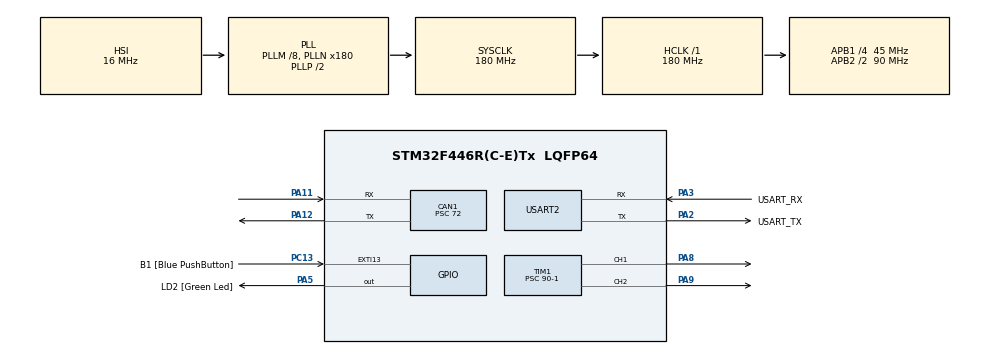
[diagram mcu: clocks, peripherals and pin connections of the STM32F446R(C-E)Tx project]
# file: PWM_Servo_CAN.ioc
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CAN1.BS1=CAN_BS1_2TQ
CAN1.BS2=CAN_BS2_2TQ
CAN1.CalculateBaudRate=125000
CAN1.CalculateTimeBit=8000
CAN1.CalculateTimeQuantum=1600.0
CAN1.Prescaler=72
Mcu.Family=STM32F4
Mcu.Name=STM32F446R(C-E)Tx
Mcu.Package=LQFP64
NVIC.CAN1_RX0_IRQn=true\:0\:0\:false\:false\:true\:true\:true\:true
NVIC.PriorityGroup=NVIC_PRIORITYGROUP_0
NVIC.TIM2_IRQn=true\:0\:0\:false\:false\:true\:true\:true\:true
PA11.Mode=CAN_Activate
PA11.Signal=CAN1_RX
PA12.Mode=CAN_Activate
PA12.Signal=CAN1_TX
PA13.GPIO_Label=TMS
PA13.Mode=Serial_Wire
PA13.Signal=SYS_JTMS-SWDIO
PA14.GPIO_Label=TCK
PA14.Mode=Serial_Wire
PA14.Signal=SYS_JTCK-SWCLK
PA2.GPIO_Label=USART_TX
PA2.Mode=Asynchronous
PA2.Signal=USART2_TX
PA3.GPIO_Label=USART_RX
PA3.Mode=Asynchronous
PA3.Signal=USART2_RX
PA5.GPIO_Label=LD2 [Green Led]
PA5.Signal=GPIO_Output
PA8.Signal=S_TIM1_CH1
PA9.Signal=S_TIM1_CH2
PB3.GPIO_Label=SWO
PB3.Signal=SYS_JTDO-SWO
PC13.GPIO_Label=B1 [Blue PushButton]
PC13.GPIO_ModeDefaultEXTI=GPIO_MODE_IT_FALLING
PC13.Signal=GPXTI13
PC14-OSC32_IN.Mode=LSE-External-Oscillator
PC14-OSC32_IN.Signal=RCC_OSC32_IN
PC15-OSC32_OUT.Mode=LSE-External-Oscillator
PC15-OSC32_OUT.Signal=RCC_OSC32_OUT
PH0-OSC_IN.Mode=HSE-External-Oscillator
PH0-OSC_IN.Signal=RCC_OSC_IN
PH1-OSC_OUT.Mode=HSE-External-Oscillator
PH1-OSC_OUT.Signal=RCC_OSC_OUT
ProjectManager.HeapSize=0x200
ProjectManager.StackSize=0x400
ProjectManager.TargetToolchain=STM32CubeIDE
RCC.48MHZClocksFreq_Value=84000000
RCC.AHBFreq_Value=180000000
RCC.APB1CLKDivider=RCC_HCLK_DIV4
RCC.APB1Freq_Value=45000000
RCC.APB1TimFreq_Value=90000000
RCC.APB2CLKDivider=RCC_HCLK_DIV2
RCC.APB2Freq_Value=90000000
RCC.APB2TimFreq_Value=180000000
RCC.CortexFreq_Value=180000000
RCC.FLatency-AdvancedSettings=FLASH_LATENCY_5
RCC.HCLKFreq_Value=180000000
RCC.HSE_VALUE=8000000
RCC.HSI_VALUE=16000000
RCC.PLLM=8
RCC.PLLN=180
RCC.SYSCLKFreq_VALUE=180000000
RCC.SYSCLKSource=RCC_SYSCLKSOURCE_PLLCLK
RCC.USBFreq_Value=180000000
RCC.VCOOutputFreq_Value=360000000
SH.S_TIM1_CH1.0=TIM1_CH1,PWM Generation1 CH1
SH.S_TIM1_CH2.0=TIM1_CH2,PWM Generation2 CH2
TIM1.Channel-PWM\ Generation1\ CH1=TIM_CHANNEL_1
TIM1.Channel-PWM\ Generation2\ CH2=TIM_CHANNEL_2
TIM1.Period=40000-1
TIM1.Prescaler=90-1
TIM2.ClockDivision=TIM_CLOCKDIVISION_DIV1
TIM2.Period=1500-1
TIM2.Prescaler=90-1
USART2.VirtualMode=VM_ASYNC
VP_TIM1_VS_ClockSourceINT.Mode=Internal
VP_TIM2_VS_ClockSourceINT.Mode=Internal
board=NUCLEO-F446RE

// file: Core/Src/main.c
/* USER CODE BEGIN Header */
/**
  ******************************************************************************
  * @file           : main.c
  * @brief          : Main program body
  ******************************************************************************
  * @attention
  *
  * Copyright (c) 2023 STMicroelectronics.
  * All rights reserved.
  *
  * This software is licensed under terms that can be found in the LICENSE file
  * in the root directory of this software component.
  * If no LICENSE file comes with this software, it is provided AS-IS.
  *
  ******************************************************************************
  */
/* USER CODE END Header */
#include "main.h"

CAN_HandleTypeDef hcan1;

TIM_HandleTypeDef htim1;
TIM_HandleTypeDef htim2;

UART_HandleTypeDef huart2;

void SystemClock_Config(void);
static void MX_GPIO_Init(void);
static void MX_TIM1_Init(void);
static void MX_USART2_UART_Init(void);
static void MX_CAN1_Init(void);
static void MX_TIM2_Init(void);
/* USER CODE BEGIN PFP */
uint32_t degreesToPWM(int16_t degrees, uint32_t ID);
/* USER CODE END PFP */

/* USER CODE BEGIN 0 */
CAN_RxHeaderTypeDef RxHeader;
uint8_t RxData[8];

uint16_t newServoPositions[2];

// Sample CAN command (degrees): cansend can0 001#0001004B00000000
// Sample CAN command (raw PWM value): cansend can0 001#0001089800000000
// Yes. You need both the leading and trailing zeroes.
void HAL_CAN_RxFifo0MsgPendingCallback(CAN_HandleTypeDef *hcan)
{
  HAL_CAN_GetRxMessage(&hcan1, CAN_RX_FIFO0, &RxHeader, RxData);

  // Receive 8 bytes for compatibility with Morphos controller. WILL NOT REACT UNLESS MESSAGE IS THIS LENGTH.
  // Can discard ID field. This firmware uses IDs from the CAN protocol itself, so any other ID fields are redundant
  // The command field (RxData[1]) should be one b/c that corresponds to SET_COMMAND on the Morphos controller
  if(RxHeader.DLC == 8 && RxData[1] == 1)
  {
	  uint16_t tmp = 0;

	  tmp += RxData[2];
	  tmp <<= 8;
	  tmp += RxData[3];

	  uint16_t pwmReceived = degreesToPWM(tmp, RxHeader.StdId);

	  // Return if converted PWM is invalid
	  if(pwmReceived == 0)
	  {
		  return;
	  }

	  if(RxHeader.StdId == 0x00F)
	  {
//		  TIM1->CCR1 = tmp;
//		  TIM1->CCR1 = degreesToPWM(tmp, RxHeader.StdId);
		  newServoPositions[0] = pwmReceived;
	  }
	  else if(RxHeader.StdId == 0x010)
	  {
//		  TIM1->CCR2 = tmp;
//		  TIM1->CCR2 = degreesToPWM(tmp, RxHeader.StdId);
		  newServoPositions[1] = pwmReceived;
	  }
  }
}

void HAL_TIM_PeriodElapsedCallback(TIM_HandleTypeDef* htim)
{
	if(htim == &htim2)
	{
		if(TIM1->CCR1 < newServoPositions[0])
		{
			TIM1->CCR1++;
		}
		else if(TIM1->CCR1 > newServoPositions[0])
		{
			TIM1->CCR1--;
		}

		if(TIM1->CCR2 < newServoPositions[1])
		{
			TIM1->CCR2++;
		}
		else if(TIM1->CCR2 > newServoPositions[1])
		{
			TIM1->CCR2--;
		}
	}
}

uint32_t degreesToPWM(int16_t degrees, uint32_t ID)
{
	uint32_t retVal = 0;
	int16_t minDegrees[] = {-75, 0};
	int16_t maxDegrees[] = {75, 120};

	// Validate range for this joint
	// Offset to compensate for ID's being 1-indexed and arrays being 0-indexed
	if(degrees < minDegrees[ID - 15] || degrees > maxDegrees[ID - 15])
	{
		// Can use this as error value b/c pulse will never be this thin
		return 0;
	}

	// newValue = (-1 if flipped, 1 if not) * oldValue * (newRange / oldRange) + newRangeOffset
	switch(ID)
	{
		case 0x00F:
//			retVal =  (((75 - degrees) * 1556) / 150) + 2088;
			retVal =  (((75 - degrees) * 2350) / 150) + 2000;
			break;
		case 0x010:
			retVal = ((degrees * 1704) / 120) + 1675;
			break;
	}

	return retVal;
}

/* USER CODE END 0 */

int main(void)
{

  /* MCU Configuration--------------------------------------------------------*/

  /* Reset of all peripherals, Initializes the Flash interface and the Systick. */
  HAL_Init();

  /* Configure the system clock */
  SystemClock_Config();

  /* Initialize all configured peripherals */
  MX_GPIO_Init();
  MX_TIM1_Init();
  MX_USART2_UART_Init();
  MX_CAN1_Init();
  MX_TIM2_Init();
  /* USER CODE BEGIN 2 */

  // Center neck and head
  TIM1->CCR1 = 3175;
  TIM1->CCR2 = 3000;

  // Initialize target values for P-control
  newServoPositions[0] = TIM1->CCR1;
  newServoPositions[1] = TIM1->CCR2;

  HAL_TIM_PWM_Start(&htim1, TIM_CHANNEL_1);
  HAL_TIM_PWM_Start(&htim1, TIM_CHANNEL_2);

  HAL_TIM_Base_Start_IT(&htim2);

  HAL_CAN_Start(&hcan1);
  HAL_CAN_ActivateNotification(&hcan1, CAN_IT_RX_FIFO0_MSG_PENDING);

  /* USER CODE END 2 */

  /* Infinite loop */
  /* USER CODE BEGIN WHILE */
  while (1)
  {
//	  for(int i = 2200; i < 5000; i += 10)
//	  {
//		  TIM1->CCR1 = i;
//		  TIM1->CCR2 = i - 1500;
//		  HAL_Delay(10);
//	  }
//
//	  for(int i = 5000; i > 2200; i -= 10)
//	  {
//		  TIM1->CCR1 = i;
//		  TIM1->CCR2 = i - 1500;
//		  HAL_Delay(10);
//	  }

    /* USER CODE END WHILE */

  }
}

void SystemClock_Config(void)
{
  RCC_OscInitTypeDef RCC_OscInitStruct = {0};
  RCC_ClkInitTypeDef RCC_ClkInitStruct = {0};

  /** Configure the main internal regulator output voltage
  */
  __HAL_RCC_PWR_CLK_ENABLE();
  __HAL_PWR_VOLTAGESCALING_CONFIG(PWR_REGULATOR_VOLTAGE_SCALE1);

  /** Initializes the RCC Oscillators according to the specified parameters
  * in the RCC_OscInitTypeDef structure.
  */
  RCC_OscInitStruct.OscillatorType = RCC_OSCILLATORTYPE_HSI;
  RCC_OscInitStruct.HSIState = RCC_HSI_ON;
  RCC_OscInitStruct.HSICalibrationValue = RCC_HSICALIBRATION_DEFAULT;
  RCC_OscInitStruct.PLL.PLLState = RCC_PLL_ON;
  RCC_OscInitStruct.PLL.PLLSource = RCC_PLLSOURCE_HSI;
  RCC_OscInitStruct.PLL.PLLM = 8;
  RCC_OscInitStruct.PLL.PLLN = 180;
  RCC_OscInitStruct.PLL.PLLP = RCC_PLLP_DIV2;
  RCC_OscInitStruct.PLL.PLLQ = 2;
  RCC_OscInitStruct.PLL.PLLR = 2;
  if (HAL_RCC_OscConfig(&RCC_OscInitStruct) != HAL_OK)
  {
    Error_Handler();
  }

  /** Activate the Over-Drive mode
  */
  if (HAL_PWREx_EnableOverDrive() != HAL_OK)
  {
    Error_Handler();
  }

  /** Initializes the CPU, AHB and APB buses clocks
  */
  RCC_ClkInitStruct.ClockType = RCC_CLOCKTYPE_HCLK|RCC_CLOCKTYPE_SYSCLK
                              |RCC_CLOCKTYPE_PCLK1|RCC_CLOCKTYPE_PCLK2;
  RCC_ClkInitStruct.SYSCLKSource = RCC_SYSCLKSOURCE_PLLCLK;
  RCC_ClkInitStruct.AHBCLKDivider = RCC_SYSCLK_DIV1;
  RCC_ClkInitStruct.APB1CLKDivider = RCC_HCLK_DIV4;
  RCC_ClkInitStruct.APB2CLKDivider = RCC_HCLK_DIV2;

  if (HAL_RCC_ClockConfig(&RCC_ClkInitStruct, FLASH_LATENCY_5) != HAL_OK)
  {
    Error_Handler();
  }
}

static void MX_CAN1_Init(void)
{

  hcan1.Instance = CAN1;
  hcan1.Init.Prescaler = 72;
  hcan1.Init.Mode = CAN_MODE_NORMAL;
  hcan1.Init.SyncJumpWidth = CAN_SJW_1TQ;
  hcan1.Init.TimeSeg1 = CAN_BS1_2TQ;
  hcan1.Init.TimeSeg2 = CAN_BS2_2TQ;
  hcan1.Init.TimeTriggeredMode = DISABLE;
  hcan1.Init.AutoBusOff = DISABLE;
  hcan1.Init.AutoWakeUp = DISABLE;
  hcan1.Init.AutoRetransmission = DISABLE;
  hcan1.Init.ReceiveFifoLocked = DISABLE;
  hcan1.Init.TransmitFifoPriority = DISABLE;
  if (HAL_CAN_Init(&hcan1) != HAL_OK)
  {
    Error_Handler();
  }
  /* USER CODE BEGIN CAN1_Init 2 */
  CAN_FilterTypeDef canFilterConfig;

  canFilterConfig.FilterActivation = CAN_FILTER_ENABLE;
  canFilterConfig.FilterBank = 0;
  canFilterConfig.FilterFIFOAssignment = CAN_FilterFIFO0;
  canFilterConfig.FilterIdHigh = 0x00F << 5;
  canFilterConfig.FilterIdLow = 0;
  // All bits except for lower bits of ID must match for message to pass filter
  // I know the low bits are assigned to the ...High registers and the high bits to the ...Low registers.
  // It didn't work the other way
  canFilterConfig.FilterMaskIdHigh = 0x010 << 5;
  canFilterConfig.FilterMaskIdLow = 0x0000;
//  canFilterConfig.FilterMode = CAN_FILTERMODE_IDMASK;
    canFilterConfig.FilterMode = CAN_FILTERMODE_IDLIST;
  canFilterConfig.FilterScale = CAN_FILTERSCALE_32BIT;
  canFilterConfig.SlaveStartFilterBank = 20;

  HAL_CAN_ConfigFilter(&hcan1, &canFilterConfig);

  /* USER CODE END CAN1_Init 2 */

}

static void MX_TIM1_Init(void)
{

  TIM_ClockConfigTypeDef sClockSourceConfig = {0};
  TIM_MasterConfigTypeDef sMasterConfig = {0};
  TIM_OC_InitTypeDef sConfigOC = {0};
  TIM_BreakDeadTimeConfigTypeDef sBreakDeadTimeConfig = {0};

  htim1.Instance = TIM1;
  htim1.Init.Prescaler = 90-1;
  htim1.Init.CounterMode = TIM_COUNTERMODE_UP;
  htim1.Init.Period = 40000-1;
  htim1.Init.ClockDivision = TIM_CLOCKDIVISION_DIV1;
  htim1.Init.RepetitionCounter = 0;
  htim1.Init.AutoReloadPreload = TIM_AUTORELOAD_PRELOAD_DISABLE;
  if (HAL_TIM_Base_Init(&htim1) != HAL_OK)
  {
    Error_Handler();
  }
  sClockSourceConfig.ClockSource = TIM_CLOCKSOURCE_INTERNAL;
  if (HAL_TIM_ConfigClockSource(&htim1, &sClockSourceConfig) != HAL_OK)
  {
    Error_Handler();
  }
  if (HAL_TIM_PWM_Init(&htim1) != HAL_OK)
  {
    Error_Handler();
  }
  sMasterConfig.MasterOutputTrigger = TIM_TRGO_RESET;
  sMasterConfig.MasterSlaveMode = TIM_MASTERSLAVEMODE_DISABLE;
  if (HAL_TIMEx_MasterConfigSynchronization(&htim1, &sMasterConfig) != HAL_OK)
  {
    Error_Handler();
  }
  sConfigOC.OCMode = TIM_OCMODE_PWM1;
  sConfigOC.Pulse = 0;
  sConfigOC.OCPolarity = TIM_OCPOLARITY_HIGH;
  sConfigOC.OCNPolarity = TIM_OCNPOLARITY_HIGH;
  sConfigOC.OCFastMode = TIM_OCFAST_DISABLE;
  sConfigOC.OCIdleState = TIM_OCIDLESTATE_RESET;
  sConfigOC.OCNIdleState = TIM_OCNIDLESTATE_RESET;
  if (HAL_TIM_PWM_ConfigChannel(&htim1, &sConfigOC, TIM_CHANNEL_1) != HAL_OK)
  {
    Error_Handler();
  }
  if (HAL_TIM_PWM_ConfigChannel(&htim1, &sConfigOC, TIM_CHANNEL_2) != HAL_OK)
  {
    Error_Handler();
  }
  sBreakDeadTimeConfig.OffStateRunMode = TIM_OSSR_DISABLE;
  sBreakDeadTimeConfig.OffStateIDLEMode = TIM_OSSI_DISABLE;
  sBreakDeadTimeConfig.LockLevel = TIM_LOCKLEVEL_OFF;
  sBreakDeadTimeConfig.DeadTime = 0;
  sBreakDeadTimeConfig.BreakState = TIM_BREAK_DISABLE;
  sBreakDeadTimeConfig.BreakPolarity = TIM_BREAKPOLARITY_HIGH;
  sBreakDeadTimeConfig.AutomaticOutput = TIM_AUTOMATICOUTPUT_DISABLE;
  if (HAL_TIMEx_ConfigBreakDeadTime(&htim1, &sBreakDeadTimeConfig) != HAL_OK)
  {
    Error_Handler();
  }
  HAL_TIM_MspPostInit(&htim1);

}

static void MX_TIM2_Init(void)
{

  TIM_ClockConfigTypeDef sClockSourceConfig = {0};
  TIM_MasterConfigTypeDef sMasterConfig = {0};

  htim2.Instance = TIM2;
  htim2.Init.Prescaler = 90-1;
  htim2.Init.CounterMode = TIM_COUNTERMODE_UP;
  htim2.Init.Period = 1500-1;
  htim2.Init.ClockDivision = TIM_CLOCKDIVISION_DIV1;
  htim2.Init.AutoReloadPreload = TIM_AUTORELOAD_PRELOAD_DISABLE;
  if (HAL_TIM_Base_Init(&htim2) != HAL_OK)
  {
    Error_Handler();
  }
  sClockSourceConfig.ClockSource = TIM_CLOCKSOURCE_INTERNAL;
  if (HAL_TIM_ConfigClockSource(&htim2, &sClockSourceConfig) != HAL_OK)
  {
    Error_Handler();
  }
  sMasterConfig.MasterOutputTrigger = TIM_TRGO_RESET;
  sMasterConfig.MasterSlaveMode = TIM_MASTERSLAVEMODE_DISABLE;
  if (HAL_TIMEx_MasterConfigSynchronization(&htim2, &sMasterConfig) != HAL_OK)
  {
    Error_Handler();
  }

}

static void MX_USART2_UART_Init(void)
{

  huart2.Instance = USART2;
  huart2.Init.BaudRate = 115200;
  huart2.Init.WordLength = UART_WORDLENGTH_8B;
  huart2.Init.StopBits = UART_STOPBITS_1;
  huart2.Init.Parity = UART_PARITY_NONE;
  huart2.Init.Mode = UART_MODE_TX_RX;
  huart2.Init.HwFlowCtl = UART_HWCONTROL_NONE;
  huart2.Init.OverSampling = UART_OVERSAMPLING_16;
  if (HAL_UART_Init(&huart2) != HAL_OK)
  {
    Error_Handler();
  }

}

static void MX_GPIO_Init(void)
{
  GPIO_InitTypeDef GPIO_InitStruct = {0};

  /* GPIO Ports Clock Enable */
  __HAL_RCC_GPIOC_CLK_ENABLE();
  __HAL_RCC_GPIOH_CLK_ENABLE();
  __HAL_RCC_GPIOA_CLK_ENABLE();
  __HAL_RCC_GPIOB_CLK_ENABLE();

  /*Configure GPIO pin Output Level */
  HAL_GPIO_WritePin(LD2_GPIO_Port, LD2_Pin, GPIO_PIN_RESET);

  /*Configure GPIO pin : B1_Pin */
  GPIO_InitStruct.Pin = B1_Pin;
  GPIO_InitStruct.Mode = GPIO_MODE_IT_FALLING;
  GPIO_InitStruct.Pull = GPIO_NOPULL;
  HAL_GPIO_Init(B1_GPIO_Port, &GPIO_InitStruct);

  /*Configure GPIO pin : LD2_Pin */
  GPIO_InitStruct.Pin = LD2_Pin;
  GPIO_InitStruct.Mode = GPIO_MODE_OUTPUT_PP;
  GPIO_InitStruct.Pull = GPIO_NOPULL;
  GPIO_InitStruct.Speed = GPIO_SPEED_FREQ_LOW;
  HAL_GPIO_Init(LD2_GPIO_Port, &GPIO_InitStruct);

}

void Error_Handler(void)
{
  __disable_irq();
  while (1)
  {
  }
}
